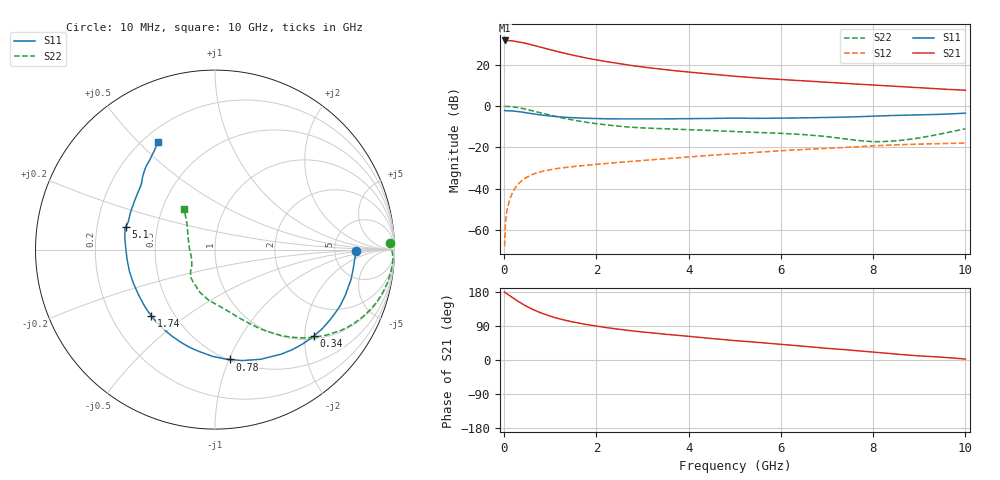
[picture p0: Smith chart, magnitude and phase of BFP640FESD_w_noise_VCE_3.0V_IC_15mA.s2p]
! Infineon Technologies  Discrete & RF Semiconductors
! BFP640FESD
! VCE =  3.0 V,  IC =  15 mA
! Common Emitter S-Parameters:  Jan 2016
# GHz  S  MA  R  50
!  f  S11  S21  S12  S22
! GHz  MAG  ANG  MAG  ANG  MAG  ANG  MAG  ANG
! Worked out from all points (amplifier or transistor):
!   233 points, 10 MHz to 10 GHz, reference 50 ohm
!   highest |S21| = 31.9 dB at 10 MHz (marker M1)
!   |S21| within 3 dB of that: start of sweep to 748.1 MHz
!   unconditionally stable (mu >= 1): start of sweep to 12.29 MHz; 4.677 GHz to end of sweep
!   at 200 MHz: K = 0.08, MSG = 36.4 dB, |S12| = -41.1 dB
!   at 1.74 GHz: K = 0.62, MSG = 26.2 dB, |S12| = -28.8 dB
!   at 10 GHz: K = 1.10, MAG = 10.9 dB, |S12| = -17.9 dB
!   lowest NFmin = 0.78 dB at 450 MHz
!   S11 on the Smith chart (normalised r, x): 10 MHz: 8.35, -0.24; 340 MHz: 1.08, -2.23; 780 MHz: 0.51, -1.01; 1.74 GHz: 0.37, -0.37; 5.1 GHz: 0.33, +0.11; 10 GHz: 0.26, +0.57
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0.01  0.7862 -0.4  39.55 179.4  0.0004 4.0  0.9734 2.3
0.02  0.783 -2.3  39.38 177.9  0.001 84.3  0.9893 -1.1
0.05  0.7795 -5.9  39.17 175.5  0.0025 84.5  0.9924 -3.3
0.15  0.7704 -18.7  38.9 167.3  0.0066 80.4  0.9786 -10.8
0.24  0.7544 -29.4  37.74 159.7  0.0104 75.5  0.9513 -17.1
0.34  0.7319 -40.9  36.19 152.1  0.0141 70.7  0.9105 -23.6
0.4  0.717 -47.4  35.08 147.6  0.0161 67.8  0.8827 -27.2
0.5  0.6889 -57.8  33.05 140.8  0.0191 63.9  0.8334 -32.7
0.6  0.6623 -67.3  30.98 134.5  0.0217 60.2  0.7824 -37.5
0.78  0.6177 -82.4  27.37 125.2  0.0253 55.5  0.6966 -44.9
1  0.5765 -98.3  23.57 115.7  0.0288 51.4  0.6055 -52.3
1.2  0.5503 -110.3  20.69 108.6  0.0313 49.0  0.5379 -57.7
1.4  0.5313 -120.3  18.3 102.7  0.0333 47.7  0.4824 -62.4
1.68  0.514 -131.7  15.68 95.9  0.0359 46.7  0.4243 -68.1
1.74  0.5115 -133.8  15.18 94.6  0.0365 46.7  0.4143 -69.2
2.38  0.4929 -152.2  11.32 82.8  0.0423 46.5  0.3363 -80.7
2.8  0.4905 -161.9  9.613 76.5  0.0461 46.7  0.3068 -88.3
3.4  0.492 -172.2  7.929 69.3  0.052 47.1  0.2856 -96.2
5.1  0.5131 166.0  5.246 50.3  0.0713 45.5  0.2401 -114.1
6.8  0.5286 146.2  3.923 33.0  0.0924 39.7  0.1915 -135.2
8.4  0.5949 130.9  3.084 16.6  0.1144 32.6  0.1423 178.3
10  0.6792 117.8  2.449 2.5  0.1274 22.8  0.2837 127.4
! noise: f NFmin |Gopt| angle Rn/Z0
0.45  0.78  0.07  1  0.09
2.4  0.82  0.04  141  0.09
5.5  1.04  0.25  172  0.08
10  1.62  0.44  -113  0.24
